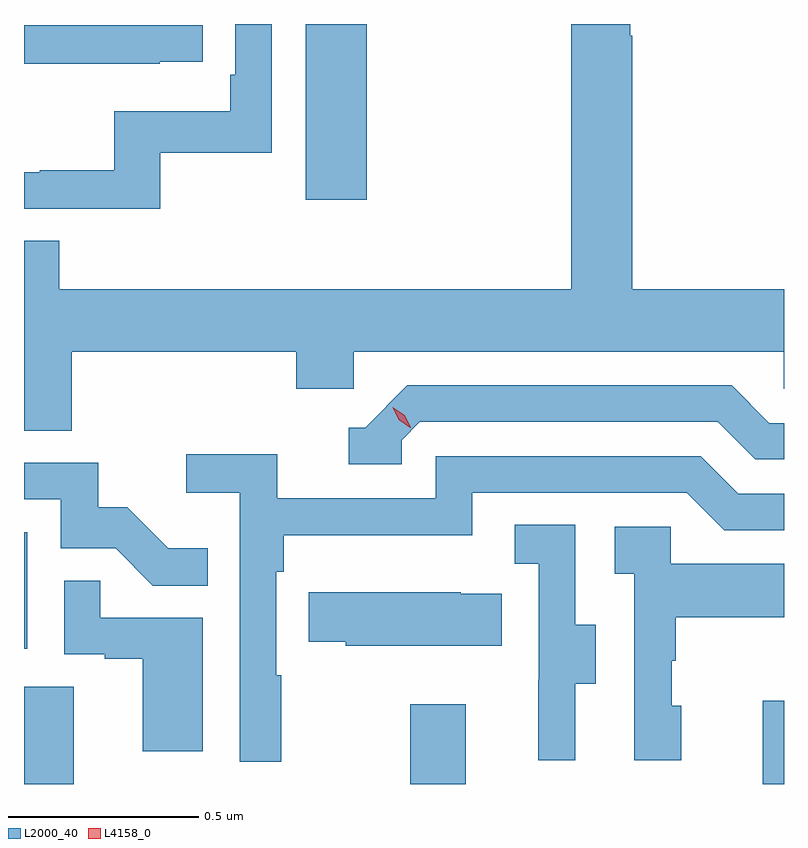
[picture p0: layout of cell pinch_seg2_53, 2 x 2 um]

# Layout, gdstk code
import gdstk
lib = gdstk.Library(unit=1e-6, precision=1e-09)
def R(c, l, rs):  # rectangles x0, y0, x1, y1
    for r in rs: c.add(gdstk.rectangle(r[:2], r[2:], *l))
def P(c, l, *ps):  # polygons
    for p in ps: c.add(gdstk.Polygon(p, *l))
L2000_40 = (2000, 40)
L4158_0 = (4158, 0)

pinch_seg2_53 = lib.new_cell('pinch_seg2_53')
R(pinch_seg2_53, L2000_40, [(1069.904,662.482,1070.035,662.738), (1070.92,662.482,1071.067,662.692), (1071.848,662.482,1071.904,662.701), (1069.904,662.838,1069.912,663.145), (1070.645,664.02,1070.806,664.482)])
P(pinch_seg2_53, L2000_40, [(1070.03,663.62),(1070.621,663.62),(1070.621,663.522),(1070.772,663.522),(1070.772,663.62),(1071.903,663.62),(1071.903,663.522),(1071.904,663.522),(1071.904,663.784),(1071.504,663.784),(1071.504,664.451),(1071.499,664.451),(1071.499,664.482),(1071.344,664.482),(1071.344,663.784),(1069.997,663.784),(1069.997,663.911),(1069.904,663.911),(1069.904,663.412),(1070.03,663.412)],
  [(1070.263,664.143),(1070.556,664.143),(1070.556,664.482),(1070.46,664.482),(1070.46,664.348),(1070.447,664.348),(1070.447,664.252),(1070.142,664.252),(1070.142,664.097),(1069.945,664.097),(1069.945,664.092),(1069.904,664.092),(1069.904,663.996),(1070.263,663.996)],
  [(1070.261,664.383),(1070.374,664.383),(1070.374,664.479),(1069.904,664.479),(1069.904,664.378),(1070.261,664.378)],
  [(1070.898,663.387),(1070.946,663.435),(1071.729,663.435),(1071.828,663.336),(1071.904,663.336),(1071.904,663.432),(1071.865,663.432),(1071.766,663.531),(1070.913,663.531),(1070.802,663.42),(1070.759,663.42),(1070.759,663.324),(1070.898,663.324)],
  [(1070.581,662.768),(1070.568,662.768),(1070.568,663.041),(1070.588,663.041),(1070.588,663.137),(1071.084,663.137),(1071.084,663.249),(1071.648,663.249),(1071.747,663.15),(1071.904,663.15),(1071.904,663.246),(1071.784,663.246),(1071.685,663.345),(1070.988,663.345),(1070.988,663.234),(1070.57,663.234),(1070.57,663.35),(1070.331,663.35),(1070.331,663.248),(1070.472,663.248),(1070.472,662.541),(1070.581,662.541)],
  [(1070.387,663.103),(1070.283,663.103),(1070.176,663.21),(1070.1,663.21),(1070.1,663.327),(1069.904,663.327),(1069.904,663.231),(1070.001,663.231),(1070.001,663.102),(1070.145,663.102),(1070.243,663.004),(1070.387,663.004)],
  [(1071.355,662.746),(1071.409,662.746),(1071.409,662.901),(1071.354,662.901),(1071.354,663.164),(1071.195,663.164),(1071.195,663.061),(1071.258,663.061),(1071.258,662.757),(1071.257,662.757),(1071.257,662.544),(1071.355,662.544)],
  [(1071.634,662.688),(1071.609,662.688),(1071.609,662.807),(1071.619,662.807),(1071.619,662.921),(1071.904,662.921),(1071.904,663.061),(1071.606,663.061),(1071.606,663.159),(1071.459,663.159),(1071.459,663.035),(1071.51,663.035),(1071.51,662.544),(1071.634,662.544)],
  [(1070.374,662.919),(1070.105,662.919),(1070.105,663.017),(1070.01,663.017),(1070.01,662.823),(1070.117,662.823),(1070.117,662.811),(1070.216,662.811),(1070.216,662.568),(1070.374,662.568)],
  [(1071.161,662.983),(1071.053,662.983),(1071.053,662.986),(1070.653,662.986),(1070.653,662.857),(1070.751,662.857),(1070.751,662.846),(1071.161,662.846)])
P(pinch_seg2_53, L4158_0, [(1070.921,663.42),(1070.89,663.44),(1070.874,663.473),(1070.874,663.473),(1070.875,663.473),(1070.906,663.453),(1070.922,663.421),(1070.922,663.42)])

lib.write_gds('pinch_seg2_53.gds')
